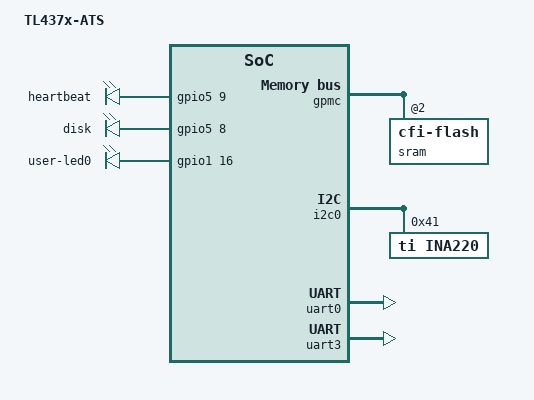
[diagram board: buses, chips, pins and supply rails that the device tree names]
/*
 * Copyright (C) 2015 GuangZhou Tronlong co., LTD - http://www.tronlong.com
 *
 * This program is free software; you can redistribute it and/or modify
 * it under the terms of the GNU General Public License version 2 as
 * published by the Free Software Foundation.
 */

/* device tree for TL437x-ATS board */

#include "tl437x-common.dtsi"

/{
    model = "TL437x-ATS";

    lcd0: display {
        status = "disabled";
    };

    leds {

        compatible = "gpio-leds";
        pinctrl-names = "default";
        pinctrl-0 = <&ats_user_leds_default>;

        led@0 {
            label = "heartbeat";
            gpios = <&gpio5 9 GPIO_ACTIVE_HIGH>;
            linux,default-trigger = "heartbeat";
            default-state = "off";
        };

        led@1 {
            label = "disk";
            gpios = <&gpio5 8 GPIO_ACTIVE_HIGH>;
            linux,default-trigger = "nand-disk";
            default-state = "off";
        };

        led@2 {
            label = "user-led0";
            gpios = <&gpio1 16 GPIO_ACTIVE_HIGH>;
            default-state = "on";
        };

        led@3 {
            status = "disabled";
        };

        led@4 {
            status = "disabled";
        };

        led@5 {
            status = "disabled";
        };
    };
};

&am43xx_pinmux {
    pinctrl-names = "default";
    pinctrl-0 = <&gpio_pins>;

    gpio_pins: gpio_pins {
        pinctrl-single,pins = <

            /* first group */
            /* enable pin */
            AM4372_IOPAD(0xa60, PIN_INPUT_PULLDOWN | MUX_MODE7)	/* spi2_sclk.gpio3_24 */

            /* DIR pin */
            AM4372_IOPAD(0x918, PIN_INPUT_PULLDOWN | MUX_MODE7)	/* mii1_rx_dv.gpio3_4 */

            /* A */
            AM4372_IOPAD(0x968, PIN_INPUT_PULLDOWN | MUX_MODE7)	/* uart0_ctsn.gpio1_8 */
            AM4372_IOPAD(0x96c, PIN_INPUT_PULLDOWN | MUX_MODE7)	/* uart0_rtsn.gpio1_9 */
            AM4372_IOPAD(0xa4c, PIN_INPUT_PULLDOWN | MUX_MODE7)	/* gpio5_13.gpio5_13 */
            AM4372_IOPAD(0xa48, PIN_INPUT_PULLDOWN | MUX_MODE7)	/* gpio5_12.gpio5_12 */
            AM4372_IOPAD(0xa44, PIN_INPUT_PULLDOWN | MUX_MODE7)	/* gpio5_11.gpio5_11 */
            AM4372_IOPAD(0xa40, PIN_INPUT_PULLDOWN | MUX_MODE7)	/* gpio5_10.gpio5_10 */
            AM4372_IOPAD(0x90c, PIN_INPUT_PULLDOWN | MUX_MODE7)	/* mii1_crs.gpio3_1 */
            AM4372_IOPAD(0x910, PIN_INPUT_PULLDOWN | MUX_MODE7)	/* mii1_rx_er.gpio3_2 */
            AM4372_IOPAD(0x908, PIN_INPUT_PULLDOWN | MUX_MODE7)	/* mii1_col.gpio3_0 */
            AM4372_IOPAD(0x944, PIN_INPUT_PULLDOWN | MUX_MODE7)	/* rmii1_ref_clk.gpio0_29 */
            AM4372_IOPAD(0x948, PIN_INPUT_PULLDOWN | MUX_MODE7)	/* mdio_data.gpio0_0 */
            AM4372_IOPAD(0x94c, PIN_INPUT_PULLDOWN | MUX_MODE7)	/* mdio_clk.gpio0_1 */
            AM4372_IOPAD(0x8dc, PIN_INPUT_PULLDOWN | MUX_MODE7)	/* dss_data15.gpio0_11 */
            AM4372_IOPAD(0x930, PIN_INPUT_PULLDOWN | MUX_MODE7)	/* mii1_rx_clk.gpio3_10 */
            AM4372_IOPAD(0x93c, PIN_INPUT_PULLDOWN | MUX_MODE7)	/* mii1_rxd1.gpio2_20 */
            AM4372_IOPAD(0x940, PIN_INPUT_PULLDOWN | MUX_MODE7)	/* mii1_rxd0.gpio2_21 */

            /* B */
            AM4372_IOPAD(0xac0, PIN_INPUT_PULLDOWN | MUX_MODE9)	/* USB0_DRVVBUS.gpio5_27 */
            AM4372_IOPAD(0xa68, PIN_INPUT_PULLDOWN | MUX_MODE7)	/* spi2_d1.gpio3_23 */
            AM4372_IOPAD(0xa64, PIN_INPUT_PULLDOWN | MUX_MODE7)	/* spi2_d0.gpio3_22 */
            AM4372_IOPAD(0xa6c, PIN_INPUT_PULLDOWN | MUX_MODE7)	/* spi2_cs0.gpio3_25 */
            AM4372_IOPAD(0xa58, PIN_INPUT_PULLDOWN | MUX_MODE7)	/* spi4_d1.gpio5_6 */
            AM4372_IOPAD(0x950, PIN_INPUT_PULLDOWN | MUX_MODE7)	/* spi0_sclk.gpio0_2 */
            AM4372_IOPAD(0x954, PIN_INPUT_PULLDOWN | MUX_MODE7)	/* spi0_d0.gpio0_3 */
            AM4372_IOPAD(0x958, PIN_INPUT_PULLDOWN | MUX_MODE7)	/* spi0_d1.gpio0_4 */
            AM4372_IOPAD(0x95c, PIN_INPUT_PULLDOWN | MUX_MODE7)	/* spi0_cs0.gpio0_5 */
            AM4372_IOPAD(0xa30, PIN_INPUT_PULLDOWN | MUX_MODE7)	/* uart3_ctsn.gpio5_0 */
            AM4372_IOPAD(0xa28, PIN_INPUT_PULLDOWN | MUX_MODE7)	/* uart3_rxd.gpio5_2 */
            AM4372_IOPAD(0xa2c, PIN_INPUT_PULLDOWN | MUX_MODE7)	/* uart3_txd.gpio5_3 */
            AM4372_IOPAD(0xa34, PIN_INPUT_PULLDOWN | MUX_MODE7)	/* uart3_rtsn.gpio5_1 */
            AM4372_IOPAD(0xa5c, PIN_INPUT_PULLDOWN | MUX_MODE7)	/* spi4_cs0.gpio5_7 */
            AM4372_IOPAD(0xa50, PIN_INPUT_PULLDOWN | MUX_MODE7)	/* spi4_sclk.gpio5_4 */
            AM4372_IOPAD(0xa54, PIN_INPUT_PULLDOWN | MUX_MODE7)	/* spi4_d0.gpio5_5 */

            /* second group */
            /* enable pin */
            AM4372_IOPAD(0x8bc, PIN_INPUT_PULLDOWN | MUX_MODE7)	/* dss_data7.gpio2_13 */

            /* DIR pin */
            AM4372_IOPAD(0xa74, PIN_INPUT_PULLDOWN | MUX_MODE9)	/* xdma_event_intr1.gpio5_29 */

            /* A */
            AM4372_IOPAD(0xa70, PIN_INPUT_PULLDOWN | MUX_MODE9)	/* xdma_event_intr0.gpio5_28 */
            AM4372_IOPAD(0x964, PIN_INPUT_PULLDOWN | MUX_MODE7)	/* eCAP0_in_PWM0_out.gpio0_7 */
            AM4372_IOPAD(0x9a8, PIN_INPUT_PULLDOWN | MUX_MODE7)	/* mcasp0_axr1.gpio3_20 */
            AM4372_IOPAD(0x998, PIN_INPUT_PULLDOWN | MUX_MODE7)	/* mcasp0_axr0.gpio9_16 */
            AM4372_IOPAD(0x994, PIN_INPUT_PULLDOWN | MUX_MODE7)	/* mcasp0_fsx.gpio3_15 */
            AM4372_IOPAD(0x990, PIN_INPUT_PULLDOWN | MUX_MODE7)	/* mcasp0_aclkx.gpio3_14 */
            AM4372_IOPAD(0x9ac, PIN_INPUT_PULLDOWN | MUX_MODE7)	/* mcasp0_ahclkx.gpio3_21 */
            AM4372_IOPAD(0x99c, PIN_INPUT_PULLDOWN | MUX_MODE7)	/* mcasp0_ahclkr.gpio3_17 */
            AM4372_IOPAD(0x9a0, PIN_INPUT_PULLDOWN | MUX_MODE7)	/* mcasp0_aclkr.gpio3_18 */
            AM4372_IOPAD(0x9a4, PIN_INPUT_PULLDOWN | MUX_MODE7)	/* mcasp0_fsr.gpio3_19 */
            AM4372_IOPAD(0xaa8, PIN_INPUT_PULLDOWN | MUX_MODE7)	/* EMU1_intr1.gpio3_8 */
            AM4372_IOPAD(0xaa4, PIN_INPUT_PULLDOWN | MUX_MODE7)	/* EMU0.gpio3_7 */
            AM4372_IOPAD(0x978, PIN_INPUT_PULLDOWN | MUX_MODE7)	/* uart1_ctsn.gpio0_12 */
            AM4372_IOPAD(0x97c, PIN_INPUT_PULLDOWN | MUX_MODE7)	/* uart1_rtsn.gpio0_13 */
            AM4372_IOPAD(0x984, PIN_INPUT_PULLDOWN | MUX_MODE7)	/* uart1_txd.gpio0_15 */
            AM4372_IOPAD(0x980, PIN_INPUT_PULLDOWN | MUX_MODE7)	/* uart1_rxd.gpio0_14 */

            /* B */
            AM4372_IOPAD(0x9c0, PIN_INPUT_PULLDOWN | MUX_MODE7)	/* cam0_pclk.gpio4_4 */
            AM4372_IOPAD(0x9b4, PIN_INPUT_PULLDOWN | MUX_MODE7)	/* cam0_vd.gpio4_1 */
            AM4372_IOPAD(0x9b0, PIN_INPUT_PULLDOWN | MUX_MODE7)	/* cam0_hd.gpio4_0 */
            AM4372_IOPAD(0x9bc, PIN_INPUT_PULLDOWN | MUX_MODE7)	/* cam0_wen.gpio4_3 */
            AM4372_IOPAD(0x9b8, PIN_INPUT_PULLDOWN | MUX_MODE7)	/* cam0_field.gpio4_2 */
            AM4372_IOPAD(0xa08, PIN_INPUT_PULLDOWN | MUX_MODE7)	/* cam0_data0.gpio5_19 */
            AM4372_IOPAD(0xa0c, PIN_INPUT_PULLDOWN | MUX_MODE7)	/* cam0_data1.gpio5_20 */
            AM4372_IOPAD(0xa10, PIN_INPUT_PULLDOWN | MUX_MODE7)	/* cam0_data2.gpio4_24 */
            AM4372_IOPAD(0xa14, PIN_INPUT_PULLDOWN | MUX_MODE7)	/* cam0_data3.gpio4_25 */
            AM4372_IOPAD(0xa18, PIN_INPUT_PULLDOWN | MUX_MODE7)	/* cam0_data4.gpio4_26 */
            AM4372_IOPAD(0xa1c, PIN_INPUT_PULLDOWN | MUX_MODE7)	/* cam0_data5.gpio4_27 */
            AM4372_IOPAD(0xa20, PIN_INPUT_PULLDOWN | MUX_MODE7)	/* cam0_data6.gpio4_28 */
            AM4372_IOPAD(0xa00, PIN_INPUT_PULLDOWN | MUX_MODE7)	/* cam1_data8.gpio4_20 */
            AM4372_IOPAD(0xa04, PIN_INPUT_PULLDOWN | MUX_MODE7)	/* cam1_data7.gpio4_21 */
            AM4372_IOPAD(0x9d0, PIN_INPUT_PULLDOWN | MUX_MODE7)	/* cam1_data8.gpio4_8 */
            AM4372_IOPAD(0x9cc, PIN_INPUT_PULLDOWN | MUX_MODE7)	/* cam1_data9.gpio4_7 */

            /* third group */
            /* enable pin */
            AM4372_IOPAD(0x9fc, PIN_INPUT_PULLDOWN | MUX_MODE7)	/* cam1_data5.gpio4_19 */

            /* DIR pin */
            AM4372_IOPAD(0x9f8, PIN_INPUT_PULLDOWN | MUX_MODE7)	/* cam1_data4.gpio4_18 */
            AM4372_IOPAD(0x9e8, PIN_INPUT_PULLDOWN | MUX_MODE7)	/* cam1_data0.gpio4_14 */

            /* A1 */
            AM4372_IOPAD(0x9f4, PIN_INPUT_PULLDOWN | MUX_MODE7)	/* cam1_data3.gpio4_17 */
            AM4372_IOPAD(0x928, PIN_INPUT_PULLDOWN | MUX_MODE7)	/* mii1_txd0.gpio0_28 */
            AM4372_IOPAD(0x914, PIN_INPUT_PULLDOWN | MUX_MODE7)	/* mii1_tx_en.gpio3_3 */
            AM4372_IOPAD(0x92c, PIN_INPUT_PULLDOWN | MUX_MODE7)	/* mii1_tx_clk.gpio3_9 */
            AM4372_IOPAD(0xa24, PIN_INPUT_PULLDOWN | MUX_MODE7)	/* cam0_data7.gpio4_29 */
            AM4372_IOPAD(0x9c4, PIN_INPUT_PULLDOWN | MUX_MODE7)	/* cam0_data8.gpio4_5 */
            AM4372_IOPAD(0x9c8, PIN_INPUT_PULLDOWN | MUX_MODE7)	/* cam0_data9.gpio4_6 */
            AM4372_IOPAD(0x9dc, PIN_INPUT_PULLDOWN | MUX_MODE7)	/* cam1_pclk.gpio4_11 */

            /* B1 */
            AM4372_IOPAD(0xa78, PIN_INPUT_PULLDOWN | MUX_MODE7)	/* clkreq.gpio_24 */
            AM4372_IOPAD(0x8ec, PIN_INPUT_PULLDOWN | MUX_MODE7)	/* dss_ac_bias_en.gpio2_25 */
            AM4372_IOPAD(0x8e0, PIN_INPUT_PULLDOWN | MUX_MODE7)	/* dss_vsync.gpio2_22 */
            AM4372_IOPAD(0x8e4, PIN_INPUT_PULLDOWN | MUX_MODE7)	/* dss_hsync.gpio2_23 */
            AM4372_IOPAD(0x8e8, PIN_INPUT_PULLDOWN | MUX_MODE7)	/* dss_pclk.gpio2_24 */
            AM4372_IOPAD(0x8b4, PIN_INPUT_PULLDOWN | MUX_MODE7)	/* dss_data5.gpio2_11 */
            AM4372_IOPAD(0x8b8, PIN_INPUT_PULLDOWN | MUX_MODE7)	/* dss_data6.gpio2_12 */
            AM4372_IOPAD(0x91c, PIN_INPUT_PULLDOWN | MUX_MODE7)	/* mii1_txd3.gpio0_16 */

            /* A2 */
            AM4372_IOPAD(0x9d8, PIN_INPUT_PULLDOWN | MUX_MODE7)	/* cam1_vd.gpio4_10 */
            AM4372_IOPAD(0x9d4, PIN_INPUT_PULLDOWN | MUX_MODE7)	/* cam1_hd.gpio4_9 */
            AM4372_IOPAD(0x9e4, PIN_INPUT_PULLDOWN | MUX_MODE7)	/* cam1_wen.gpio4_13 */
            AM4372_IOPAD(0x9e0, PIN_INPUT_PULLDOWN | MUX_MODE7)	/* cam1_field.gpio4_12 */
            AM4372_IOPAD(0x9ec, PIN_INPUT_PULLDOWN | MUX_MODE7)	/* cam1_data1.gpio4_15 */
            AM4372_IOPAD(0x9f0, PIN_INPUT_PULLDOWN | MUX_MODE7)	/* cam1_data2.gpio4_16 */
            AM4372_IOPAD(0x8d4, PIN_INPUT_PULLDOWN | MUX_MODE7)	/* dss_data13.gpio0_9 */

            /* B2 */
            AM4372_IOPAD(0x920, PIN_INPUT_PULLDOWN | MUX_MODE7)	/* mii1_txd2.gpio0_17 */
            AM4372_IOPAD(0x924, PIN_INPUT_PULLDOWN | MUX_MODE7)	/* mii1_txd1.gpio0_21 */
            AM4372_IOPAD(0x88c, PIN_INPUT_PULLDOWN | MUX_MODE7)	/* gpmc_clk.gpio2_1 */
            AM4372_IOPAD(0x874, PIN_INPUT_PULLDOWN | MUX_MODE7)	/* gpmc_wpn.gpio0_31 */
            AM4372_IOPAD(0x888, PIN_INPUT_PULLDOWN | MUX_MODE7)	/* gpmc_csn3.gpio2_0 */
            AM4372_IOPAD(0x880, PIN_INPUT_PULLDOWN | MUX_MODE7)	/* gpmc_csn1.gpio1_30 */
            AM4372_IOPAD(0xac4, PIN_INPUT_PULLDOWN | MUX_MODE7)	/* USB1_DRVVBUS.gpio3_13 */
        >;
    };

    gpmc_pins: gpmc_pins {
        pinctrl-single,pins = <
            AM4372_IOPAD(0x800, PIN_INPUT  | MUX_MODE0)	/* gpmc_ad0.gpmc_ad0 */
            AM4372_IOPAD(0x804, PIN_INPUT  | MUX_MODE0)	/* gpmc_ad1.gpmc_ad1 */
            AM4372_IOPAD(0x808, PIN_INPUT  | MUX_MODE0)	/* gpmc_ad2.gpmc_ad2 */
            AM4372_IOPAD(0x80c, PIN_INPUT  | MUX_MODE0)	/* gpmc_ad3.gpmc_ad3 */
            AM4372_IOPAD(0x810, PIN_INPUT  | MUX_MODE0)	/* gpmc_ad4.gpmc_ad4 */
            AM4372_IOPAD(0x814, PIN_INPUT  | MUX_MODE0)	/* gpmc_ad5.gpmc_ad5 */
            AM4372_IOPAD(0x818, PIN_INPUT  | MUX_MODE0)	/* gpmc_ad6.gpmc_ad6 */
            AM4372_IOPAD(0x81c, PIN_INPUT  | MUX_MODE0)	/* gpmc_ad7.gpmc_ad7 */

            AM4372_IOPAD(0x820, PIN_INPUT  | MUX_MODE0)	/* gpmc_ad8.gpmc_ad8 */
            AM4372_IOPAD(0x824, PIN_INPUT  | MUX_MODE0)	/* gpmc_ad9.gpmc_ad9 */
            AM4372_IOPAD(0x828, PIN_INPUT  | MUX_MODE0)	/* gpmc_ad10.gpmc_ad10 */
            AM4372_IOPAD(0x82c, PIN_INPUT  | MUX_MODE0)	/* gpmc_ad11.gpmc_ad11 */
            AM4372_IOPAD(0x830, PIN_INPUT  | MUX_MODE0)	/* gpmc_ad12.gpmc_ad12 */
            AM4372_IOPAD(0x834, PIN_INPUT  | MUX_MODE0)	/* gpmc_ad13.gpmc_ad13 */
            AM4372_IOPAD(0x838, PIN_INPUT  | MUX_MODE0)	/* gpmc_ad14.gpmc_ad14 */
            AM4372_IOPAD(0x83c, PIN_INPUT  | MUX_MODE0)	/* gpmc_ad15.gpmc_ad15 */

            AM4372_IOPAD(0x844, PIN_OUTPUT_PULLDOWN | MUX_MODE0)	/* gpmc_a1.gpmc_a1 */
            AM4372_IOPAD(0x848, PIN_OUTPUT_PULLDOWN | MUX_MODE0)	/* gpmc_a2.gpmc_a2 */
            AM4372_IOPAD(0x84c, PIN_OUTPUT_PULLDOWN | MUX_MODE0)	/* gpmc_a3.gpmc_a3 */
            AM4372_IOPAD(0x850, PIN_OUTPUT_PULLDOWN | MUX_MODE0)	/* gpmc_a4.gpmc_a4 */
            AM4372_IOPAD(0x854, PIN_OUTPUT_PULLDOWN | MUX_MODE0)	/* gpmc_a5.gpmc_a5 */
            AM4372_IOPAD(0x858, PIN_OUTPUT_PULLDOWN | MUX_MODE0)	/* gpmc_a6.gpmc_a6 */
            AM4372_IOPAD(0x85c, PIN_OUTPUT_PULLDOWN | MUX_MODE0)	/* gpmc_a7.gpmc_a7 */
            AM4372_IOPAD(0x860, PIN_OUTPUT_PULLDOWN | MUX_MODE0)	/* gpmc_a8.gpmc_a8 */
            AM4372_IOPAD(0x864, PIN_OUTPUT_PULLDOWN | MUX_MODE0)	/* gpmc_a9.gpmc_a9 */
            AM4372_IOPAD(0x868, PIN_OUTPUT_PULLDOWN | MUX_MODE0)	/* gpmc_a10.gpmc_a10 */
            AM4372_IOPAD(0x86c, PIN_OUTPUT_PULLDOWN | MUX_MODE0)	/* gpmc_a11.gpmc_a11 */

            AM4372_IOPAD(0x870, PIN_INPUT_PULLUP | MUX_MODE7)	/* gpmc_wait0.gpio0_30 */
            AM4372_IOPAD(0x878, PIN_OUTPUT_PULLUP | MUX_MODE0)	/* gpmc_be1n.gpmc_be1n */
            AM4372_IOPAD(0x87c, PIN_OUTPUT | MUX_MODE0)	/* gpmc_csn0.gpmc_csn0  */
            AM4372_IOPAD(0x884, PIN_OUTPUT | MUX_MODE0)	/* gpmc_csn2.gpmc_csn2 */
            AM4372_IOPAD(0x890, PIN_OUTPUT | MUX_MODE0)	/* gpmc_advn_ale.gpmc_advn_ale */
            AM4372_IOPAD(0x894, PIN_OUTPUT | MUX_MODE0)	/* gpmc_oen_ren.gpmc_oen_ren */
            AM4372_IOPAD(0x898, PIN_OUTPUT | MUX_MODE0)	/* gpmc_wen.gpmc_wen */
            AM4372_IOPAD(0x89c, PIN_OUTPUT | MUX_MODE0)	/* gpmc_be0n_cle.gpmc_be0n_cle */

            AM4372_IOPAD(0x8c0, PIN_OUTPUT_PULLDOWN | MUX_MODE1)	/* dss_data8.gpmc_a12 */
            AM4372_IOPAD(0x8c4, PIN_OUTPUT_PULLDOWN | MUX_MODE1)	/* dss_data9.gpmc_a13 */
            AM4372_IOPAD(0x8c8, PIN_OUTPUT_PULLDOWN | MUX_MODE1)	/* dss_data10.gpmc_a14 */
            AM4372_IOPAD(0x8cc, PIN_OUTPUT_PULLDOWN | MUX_MODE1)	/* dss_data11.gpmc_a15 */
            AM4372_IOPAD(0x8d0, PIN_OUTPUT_PULLDOWN | MUX_MODE1)	/* dss_data12.gpmc_a16 */
        >;
    };

    ats_user_leds_default: ats_user_leds_default {
        pinctrl-single,pins = <
            AM4372_IOPAD(0xa38, PIN_OUTPUT_PULLUP | MUX_MODE7)		/* gpio5_8.gpio5_8  */
            AM4372_IOPAD(0xa3c, PIN_OUTPUT_PULLUP | MUX_MODE7)		/* gpio5_9.gpio5_9  */
            AM4372_IOPAD(0x840, PIN_OUTPUT_PULLUP | MUX_MODE7)		/* gpmc_a0.gpio1_16 */
        >;
    };

    uart0_pins: uart0_pins {
        pinctrl-single,pins = <
            AM4372_IOPAD(0x970, PIN_INPUT_PULLUP | SLEWCTRL_FAST | DS0_PULL_UP_DOWN_EN | MUX_MODE0)		/* uart0_rxd.uart0_rxd */
            AM4372_IOPAD(0x974, PIN_INPUT | PULL_DISABLE | SLEWCTRL_FAST | DS0_PULL_UP_DOWN_EN | MUX_MODE0)	/* uart0_txd.uart0_txd */
        >;
    };

    uart3_pins: uart3_pins {
        pinctrl-single,pins = <
            AM4372_IOPAD(0x934, PIN_INPUT_PULLDOWN | MUX_MODE1)	/* mii1_rxd3.uart3_rxd */
            AM4372_IOPAD(0x938, PIN_OUTPUT_PULLDOWN | MUX_MODE1)	/* mii1_rxd2.uart3_txd */
        >;
    };
};

&gpio_keys {
    status = "disabled";
};

&i2c1 {
    status = "disabled";
};


&davinci_mdio {
    status = "disabled";
};

&gpmc {
    status = "okay";
    pinctrl-names = "default";
    pinctrl-0 = <&gpmc_pins>;

    ranges = <0 0 0x08000000 0x01000000>,	/* minimum GPMC partition = 16MB */
             <2 0 0x09000000 0x01000000>;

    sram@2,0 {
        compatible = "cfi-flash";
        linux,mtd-name= "intel,pf48f6000m0y1be";
        #address-cells = <1>;
        #size-cells = <1>;
        reg = <2 0 0x01000000>;

        bank-width = <2>;
        gpmc,mux-add-data;	/* 1: address-address-data multiplexing mode, 2: address-data multiplexing mode.*/
        gpmc,cs-on-ns = <0>;
        gpmc,cs-rd-off-ns = <186>;
        gpmc,cs-wr-off-ns = <186>;

        gpmc,adv-on-ns = <12>;
        gpmc,adv-rd-off-ns = <48>;
        gpmc,adv-wr-off-ns = <48>;

        gpmc,oe-on-ns = <54>;
        gpmc,oe-off-ns = <168>;
        gpmc,we-on-ns = <54>;
        gpmc,we-off-ns = <168>;

        gpmc,rd-cycle-ns = <186>;
        gpmc,wr-cycle-ns = <186>;
        gpmc,access-ns = <114>;
        gpmc,page-burst-access-ns = <6>;

        gpmc,bus-turnaround-ns = <12>;
        gpmc,cycle2cycle-delay-ns = <18>;
        gpmc,wr-data-mux-bus-ns = <90>;
        gpmc,wr-access-ns = <186>;

        gpmc,cycle2cycle-samecsen;
        gpmc,cycle2cycle-diffcsen;
    };
};

&i2c0 {
    status = "okay";
    ina220@41 {
        compatible = "ti,ina220";
        reg = <0x41>;
        shunt-resistor = <0x5000>;
    };
};

&uart0 {
    status = "okay";
    pinctrl-names = "default";
    pinctrl-0 = <&uart0_pins>;
};

&uart3 {
    status = "okay";
    pinctrl-names = "default";
    pinctrl-0 = <&uart3_pins>;
};
